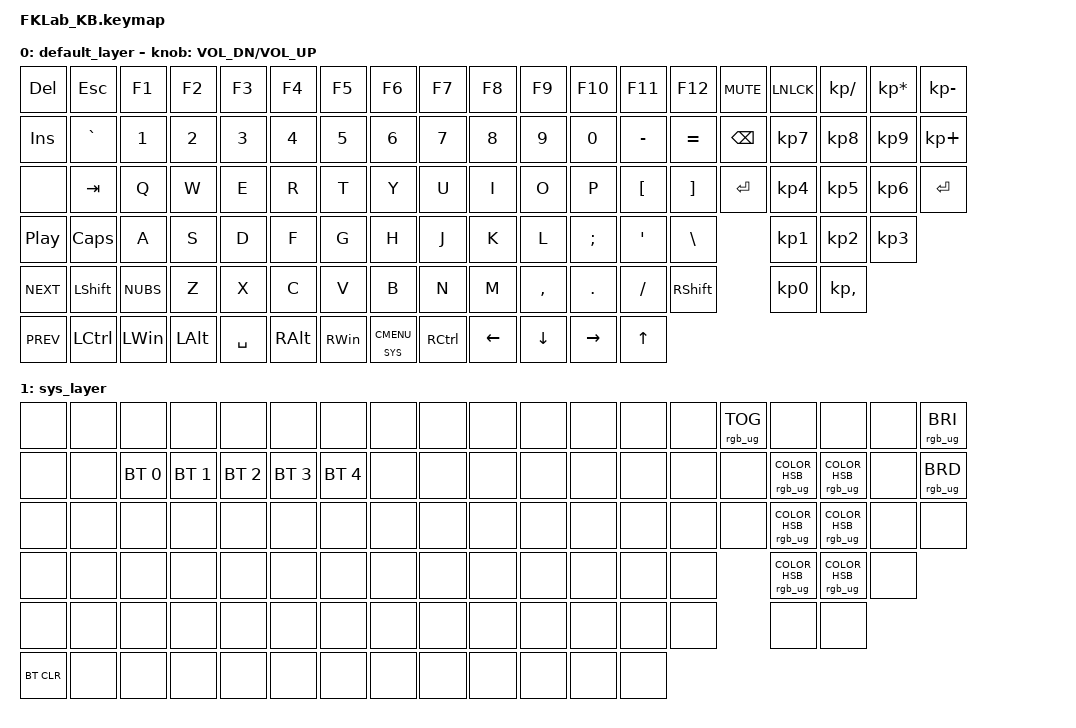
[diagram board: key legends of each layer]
#include <behaviors.dtsi>
#include <dt-bindings/zmk/keys.h>
#include <dt-bindings/zmk/bt.h>
#include <dt-bindings/zmk/outputs.h>
#include <dt-bindings/zmk/rgb.h>
#include <dt-bindings/zmk/ext_power.h>

// ┌─────┬───────┬─────┬─────┬───────┬─────┬─────┬──────┬──────┬──────┬────┬──────┬───────┬───────┬─────────┐ ┌────┬───┬───┬───────┐     
// │ MC1 │ ESC   │ F1  │ F2  │ F3    │ F4  │ F5  │ F6   │ F7   │ F8   │ F9 │ F10  │ F11   │ F12   │ Encoder │ │ NL │ / │ * │ -     │
// ├─────┼───────┼─────┼─────┼───────┼─────┼─────┼──────┼──────┼──────┼────┼──────┼───────┼───────┼─────────┤ ├────┼───┼───┼───────┤
// │ MC2 │ ^     │ 1   │ 2   │ 3     │ 4   │ 5   │ 6    │ 7    │ 8    │ 9  │ 0    │ ß     │ ´     │ BACK    │ │ 7  │ 8 │ 9 │ +     │
// ├─────┼───────┼─────┼─────┼───────┼─────┼─────┼──────┼──────┼──────┼────┼──────┼───────┼───────┼─────────┤ ├────┼───┼───┼───────┤
// │ MC3 │ TAB   │ Q   │ W   │ E     │ R   │ T   │ Z    │ U    │ I    │ O  │ P    │ Ü     │ +     │ ENTER   │ │ 4  │ 5 │ 6 │ ENTER │
// ├─────┼───────┼─────┼─────┼───────┼─────┼─────┼──────┼──────┼──────┼────┼──────┼───────┼───────┼─────────┘ ├────┼───┼───┼───────┘
// │ MC4 │ CAP   │ A   │ S   │ D     │ F   │ G   │ H    │ J    │ K    │ L  │ Ö    │ Ä     │ #     │           │ 1  │ 2 │ 3 │ 		
// ├─────┼───────┼─────┼─────┼───────┼─────┼─────┼──────┼──────┼──────┼────┼──────┼───────┼───────┤           ├────┼───┼───┘  
// │ MC5 │ SHIFT │ <   │ Y   │ X     │ C   │ V   │ B    │ N    │ M    │ ,  │ .    │ -     │ SHIFT │           │ 0  │ , │
// ├─────┼───────┼─────┼─────┼───────┼─────┼─────┼──────┼──────┼──────┼────┼──────┼───────┼───────┘           └────┴───┘    
// │ MC6 │ STRG  │ WIN │ ALT │ SPACE │ ALT │ WIN │ PAGE │ STRG │ Left │ UP │ DOWN │ RIGHT │
// └─────┴───────┴─────┴─────┴───────┴─────┴─────┴──────┴──────┴──────┴────┴──────┴───────┘

#define DEFAULT 0
#define SYS     1

/ {
	keymap {
		compatible = "zmk,keymap";
		
		default_layer {
			bindings = <
		&kp DEL    &kp ESC   &kp F1   	   &kp F2       &kp F3    &kp F4        &kp F5   &kp F6          &kp F7    &kp F8    &kp F9    &kp F10   &kp F11   &kp F12   &kp C_MUTE		&kp LNLCK  &kp KP_DIVIDE &kp KP_MULTIPLY &kp KP_MINUS
		&kp INS	   &kp GRAVE &kp N1   	   &kp N2       &kp N3    &kp N4        &kp N5   &kp N6          &kp N7    &kp N8    &kp N9    &kp N0 	 &kp MINUS &kp EQUAL &kp BSPC		&kp KP_N7  &kp KP_N8 	 &kp KP_N9 		 &kp KP_PLUS
		&none      &kp TAB   &kp Q    	   &kp W        &kp E     &kp R         &kp T    &kp Y           &kp U     &kp I     &kp O     &kp P     &kp LBKT  &kp RBKT  &kp ENTER  	&kp KP_N4  &kp KP_N5 	 &kp KP_N6 		 &kp ENTER
		&kp C_PP   &kp CAPS  &kp A    	   &kp S        &kp D     &kp F         &kp G    &kp H           &kp J     &kp K     &kp L     &kp SEMI  &kp APOS  &kp BSLH			 		&kp KP_N1  &kp KP_N2 	 &kp KP_N3
		&kp C_NEXT &kp LSHFT &kp NUBS 	   &kp Z        &kp X     &kp C         &kp V    &kp B           &kp N     &kp M     &kp COMMA &kp DOT   &kp SLASH &kp RSHFT     	 		&kp KP_N0  &kp KP_COMMA
		&kp C_PREV &kp LCTRL &kp LEFT_WIN  &kp LEFT_ALT &kp SPACE &kp RIGHT_ALT &kp RWIN &lt SYS K_CMENU &kp RCTRL &kp LEFT  &kp DOWN  &kp RIGHT &kp UP
			>;
			sensor-bindings = <&inc_dec_kp C_VOL_DN C_VOL_UP>;
		};
		sys_layer {
			bindings = <
		&none 		&none &none 		&none 		  &none 	   &none 		&none 			&none &none &none &none &none &none &none &rgb_ug RGB_TOG 		&none								&none 								&none 	&rgb_ug RGB_BRI
		&none 		&none &bt BT_SEL 0	&bt BT_SEL 1 &bt BT_SEL 2 &bt BT_SEL 3 &bt BT_SEL 4		&none &none &none &none &none &none &none &none 				&rgb_ug RGB_COLOR_HSB(128,100,100) 	&rgb_ug RGB_COLOR_HSB(274,100,50) 	&none 	&rgb_ug RGB_BRD
		&none 		&none &none 		&none 		  &none 	   &none 		&none 			&none &none &none &none &none &none &none &none 				&rgb_ug RGB_COLOR_HSB(18,100,50) 	&rgb_ug RGB_COLOR_HSB(232,100,50) 	&none 	&none
		&none 		&none &none 		&none 		  &none 	   &none 		&none 			&none &none &none &none &none &none &none		  				&rgb_ug RGB_COLOR_HSB(316,100,50)	&rgb_ug RGB_COLOR_HSB(167,100,50) 	&none
		&none 		&none &none 		&none 		  &none 	   &none 		&none 			&none &none &none &none &none &none &none       				&none &none
		&bt BT_CLR 	&none &none 		&none 		  &none 	   &none 		&none 			&none &none &none &none &none &none
			>;
		};
	};
};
